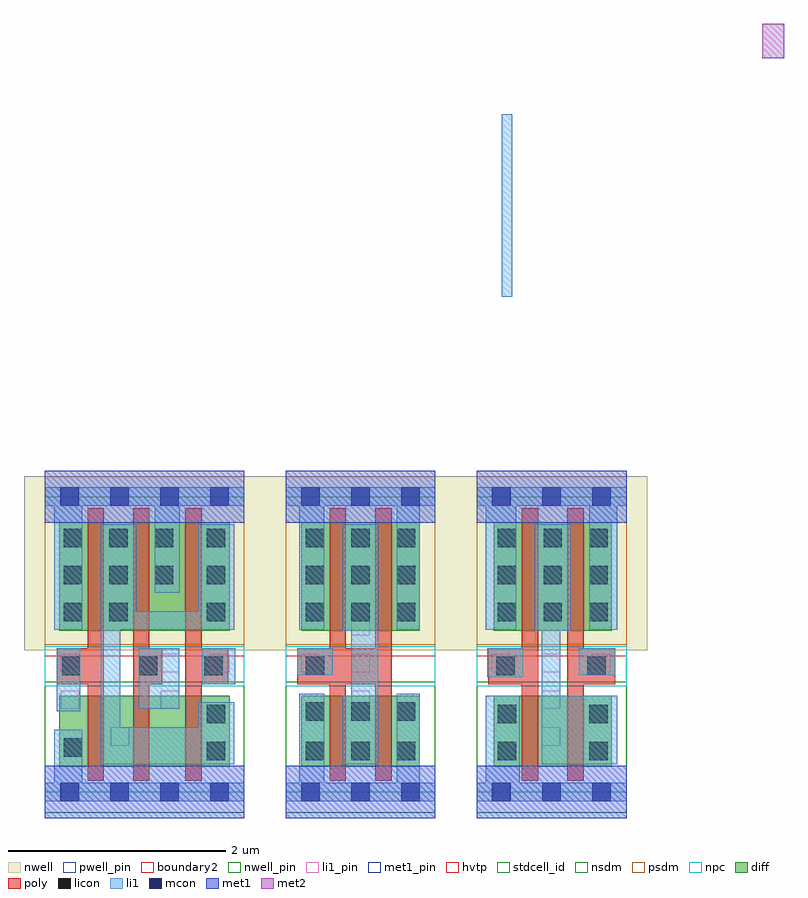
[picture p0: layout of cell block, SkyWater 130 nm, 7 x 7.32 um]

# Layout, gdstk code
import gdstk
lib = gdstk.Library(unit=1e-6, precision=1e-09)
def R(c, l, rs):  # rectangles x0, y0, x1, y1
    for r in rs: c.add(gdstk.rectangle(r[:2], r[2:], *l))
def A(c, l, x, y, w, h, nx, ny, dx, dy):  # array of equal rectangles
    R(c, l, [(x+i*dx, y+j*dy, x+i*dx+w, y+j*dy+h) for i in range(nx) for j in range(ny)])
def P(c, l, *ps):  # polygons
    for p in ps: c.add(gdstk.Polygon(p, *l))
nwell_pin = (64, 16)
nwell = (64, 20)
diff = (65, 20)
poly = (66, 20)
licon = (66, 44)
li1_pin = (67, 16)
li1 = (67, 20)
mcon = (67, 44)
met1_pin = (68, 16)
met1 = (68, 20)
met2 = (69, 20)
hvtp = (78, 44)
stdcell_id = (81, 4)
nsdm = (93, 44)
psdm = (94, 20)
npc = (95, 20)
pwell_pin = (122, 16)
boundary2 = (236, 0)

sky130_fd_sc_hd__nand3_1 = lib.new_cell('sky130_fd_sc_hd__nand3_1')
R(sky130_fd_sc_hd__nand3_1, nwell_pin, [(0.15,2.635,0.32,2.805)])
R(sky130_fd_sc_hd__nand3_1, nwell, [(-0.19,1.305,2.03,2.91)])
R(sky130_fd_sc_hd__nand3_1, diff, [(0.135,0.235,1.705,0.885), (0.135,1.485,1.705,2.485)])
P(sky130_fd_sc_hd__nand3_1, poly, [(1.295,0.105),(1.295,2.615),(1.445,2.615),(1.445,1.325),(1.69,1.325),(1.69,0.995),(1.445,0.995),(1.445,0.105)],
  [(0.815,0.105),(0.815,2.615),(0.965,2.615),(0.965,1.325),(1.085,1.325),(1.085,0.995),(0.965,0.995),(0.965,0.105)],
  [(0.395,0.105),(0.395,0.995),(0.11,0.995),(0.11,1.325),(0.395,1.325),(0.395,2.615),(0.545,2.615),(0.545,0.105)])
A(sky130_fd_sc_hd__nand3_1, licon, 1.495, 1.575, 0.17, 0.17, 1, 3, 0, 0.34)
A(sky130_fd_sc_hd__nand3_1, licon, 0.175, 1.915, 0.17, 0.17, 3, 2, 0.42, 0.34)
R(sky130_fd_sc_hd__nand3_1, licon, [(1.495,0.295,1.665,0.465), (0.175,0.325,0.345,0.495), (1.495,0.635,1.665,0.805), (0.16,1.075,0.33,1.245), (0.865,1.075,1.035,1.245), (1.47,1.075,1.64,1.245), (0.175,1.575,0.345,1.745), (0.595,1.575,0.765,1.745)])
R(sky130_fd_sc_hd__nand3_1, li1_pin, [(0.61,0.425,0.78,0.595), (0.15,0.765,0.32,0.935), (1.07,0.765,1.24,0.935), (0.15,1.105,0.32,1.275), (1.07,1.105,1.24,1.275), (1.53,1.105,1.7,1.275)])
R(sky130_fd_sc_hd__nand3_1, li1, [(0.11,0.745,0.33,1.325), (0.865,0.765,1.24,1.325), (1.445,0.995,1.755,1.325)])
P(sky130_fd_sc_hd__nand3_1, li1, [(0.09,1.495),(0.09,2.635),(0,2.635),(0,2.805),(1.84,2.805),(1.84,2.635),(1.245,2.635),(1.245,1.835),(1.015,1.835),(1.015,2.635),(0.345,2.635),(0.345,1.495)],
  [(0,-0.085),(0,0.085),(0.09,0.085),(0.09,0.575),(0.345,0.575),(0.345,0.085),(1.84,0.085),(1.84,-0.085)],
  [(0.515,0.255),(0.515,2.465),(0.845,2.465),(0.845,1.665),(1.415,1.665),(1.415,2.465),(1.745,2.465),(1.745,1.495),(0.695,1.495),(0.695,0.595),(1.415,0.595),(1.415,0.825),(1.745,0.825),(1.745,0.255)])
A(sky130_fd_sc_hd__nand3_1, mcon, 0.145, -0.085, 0.17, 0.17, 4, 2, 0.46, 2.72)
R(sky130_fd_sc_hd__nand3_1, met1_pin, [(0.15,-0.085,0.32,0.085), (0.15,2.635,0.32,2.805)])
R(sky130_fd_sc_hd__nand3_1, hvtp, [(0,1.25,1.84,2.72)])
R(sky130_fd_sc_hd__nand3_1, stdcell_id, [(0,0,1.84,2.72)])
R(sky130_fd_sc_hd__nand3_1, nsdm, [(0,-0.19,1.84,1.015)])
R(sky130_fd_sc_hd__nand3_1, psdm, [(0,1.355,1.84,2.91)])
R(sky130_fd_sc_hd__nand3_1, npc, [(0,0.975,1.84,1.345)])
R(sky130_fd_sc_hd__nand3_1, pwell_pin, [(0.15,-0.085,0.32,0.085)])
R(sky130_fd_sc_hd__nand3_1, boundary2, [(0,0,1.84,2.72)])
sky130_fd_sc_hd__nand3_1.add(gdstk.FlexPath([(0,2.72),(1.84,2.72)], 0.48, ends="flush", simple_path=True, layer=68, datatype=20))  # met1
sky130_fd_sc_hd__nand3_1.add(gdstk.FlexPath([(0,0),(1.84,0)], 0.48, ends="flush", simple_path=True, layer=68, datatype=20))  # met1
sky130_fd_sc_hd__nand3_1.add(gdstk.Label('Y', (0.695,0.51), layer=67, texttype=5))
sky130_fd_sc_hd__nand3_1.add(gdstk.Label('A', (1.615,1.19), layer=67, texttype=5))
sky130_fd_sc_hd__nand3_1.add(gdstk.Label('C', (0.235,1.19), layer=67, texttype=5))
sky130_fd_sc_hd__nand3_1.add(gdstk.Label('B', (1.155,1.19), layer=67, texttype=5))
sky130_fd_sc_hd__nand3_1.add(gdstk.Label('VPB', (0.235,2.72), layer=64, texttype=5))
sky130_fd_sc_hd__nand3_1.add(gdstk.Label('VNB', (0.235,0), layer=64, texttype=59))
sky130_fd_sc_hd__nand3_1.add(gdstk.Label('VGND', (0.235,0), layer=68, texttype=5))
sky130_fd_sc_hd__nand3_1.add(gdstk.Label('VPWR', (0.235,2.72), layer=68, texttype=5))
sky130_fd_sc_hd__nand3_1.add(gdstk.Label('nand3_1', (0,0), layer=83, texttype=44))

sky130_fd_sc_hd__inv_2 = lib.new_cell('sky130_fd_sc_hd__inv_2')
R(sky130_fd_sc_hd__inv_2, nwell_pin, [(0.145,2.635,0.315,2.805)])
R(sky130_fd_sc_hd__inv_2, nwell, [(-0.19,1.305,1.57,2.91)])
R(sky130_fd_sc_hd__inv_2, diff, [(0.145,0.235,1.235,0.885), (0.145,1.485,1.235,2.485)])
P(sky130_fd_sc_hd__inv_2, poly, [(0.405,0.105),(0.405,0.995),(0.105,0.995),(0.105,1.325),(0.405,1.325),(0.405,2.615),(0.555,2.615),(0.555,1.325),(0.825,1.325),(0.825,2.615),(0.975,2.615),(0.975,0.105),(0.825,0.105),(0.825,0.995),(0.555,0.995),(0.555,0.105)])
A(sky130_fd_sc_hd__inv_2, licon, 0.185, 0.295, 0.17, 0.17, 3, 2, 0.42, 0.36)
A(sky130_fd_sc_hd__inv_2, licon, 0.185, 1.575, 0.17, 0.17, 3, 3, 0.42, 0.34)
R(sky130_fd_sc_hd__inv_2, licon, [(0.185,1.075,0.355,1.245)])
A(sky130_fd_sc_hd__inv_2, li1_pin, 0.605, 0.765, 0.17, 0.17, 1, 3, 0, 0.34)
R(sky130_fd_sc_hd__inv_2, li1_pin, [(0.145,1.105,0.315,1.275)])
R(sky130_fd_sc_hd__inv_2, li1, [(0.105,1.075,0.435,1.325)])
P(sky130_fd_sc_hd__inv_2, li1, [(0.125,1.495),(0.125,2.635),(0,2.635),(0,2.805),(1.38,2.805),(1.38,2.635),(1.235,2.635),(1.235,1.495),(1.025,1.495),(1.025,2.635),(0.355,2.635),(0.355,1.495)],
  [(0.525,0.255),(0.525,0.885),(0.605,0.885),(0.605,1.485),(0.525,1.485),(0.525,2.465),(0.855,2.465),(0.855,0.255)],
  [(0,-0.085),(0,0.085),(0.125,0.085),(0.125,0.905),(0.355,0.905),(0.355,0.085),(1.025,0.085),(1.025,0.905),(1.235,0.905),(1.235,0.085),(1.38,0.085),(1.38,-0.085)])
A(sky130_fd_sc_hd__inv_2, mcon, 0.145, -0.085, 0.17, 0.17, 3, 2, 0.46, 2.72)
R(sky130_fd_sc_hd__inv_2, met1_pin, [(0.145,-0.085,0.315,0.085), (0.145,2.635,0.315,2.805)])
R(sky130_fd_sc_hd__inv_2, hvtp, [(0,1.25,1.38,2.72)])
R(sky130_fd_sc_hd__inv_2, stdcell_id, [(0,0,1.38,2.72)])
R(sky130_fd_sc_hd__inv_2, nsdm, [(0,-0.19,1.38,1.015)])
R(sky130_fd_sc_hd__inv_2, psdm, [(0,1.355,1.38,2.91)])
R(sky130_fd_sc_hd__inv_2, npc, [(0,0.975,1.38,1.345)])
R(sky130_fd_sc_hd__inv_2, pwell_pin, [(0.145,-0.085,0.315,0.085)])
R(sky130_fd_sc_hd__inv_2, boundary2, [(0,0,1.38,2.72)])
sky130_fd_sc_hd__inv_2.add(gdstk.FlexPath([(0,2.72),(1.38,2.72)], 0.48, ends="flush", simple_path=True, layer=68, datatype=20))  # met1
sky130_fd_sc_hd__inv_2.add(gdstk.FlexPath([(0,0),(1.38,0)], 0.48, ends="flush", simple_path=True, layer=68, datatype=20))  # met1
sky130_fd_sc_hd__inv_2.add(gdstk.Label('A', (0.23,1.19), layer=67, texttype=5))
sky130_fd_sc_hd__inv_2.add(gdstk.Label('Y', (0.69,0.85), layer=67, texttype=5))
sky130_fd_sc_hd__inv_2.add(gdstk.Label('Y', (0.69,1.53), layer=67, texttype=5))
sky130_fd_sc_hd__inv_2.add(gdstk.Label('Y', (0.69,1.19), layer=67, texttype=5))
sky130_fd_sc_hd__inv_2.add(gdstk.Label('VPB', (0.23,2.72), layer=64, texttype=5))
sky130_fd_sc_hd__inv_2.add(gdstk.Label('VNB', (0.23,0), layer=64, texttype=59))
sky130_fd_sc_hd__inv_2.add(gdstk.Label('VPWR', (0.23,2.72), layer=68, texttype=5))
sky130_fd_sc_hd__inv_2.add(gdstk.Label('VGND', (0.23,0), layer=68, texttype=5))
sky130_fd_sc_hd__inv_2.add(gdstk.Label('inv_2', (0,0), layer=83, texttype=44))

sky130_fd_sc_hd__nand2_1 = lib.new_cell('sky130_fd_sc_hd__nand2_1')
R(sky130_fd_sc_hd__nand2_1, nwell_pin, [(0.14,2.635,0.31,2.805)])
R(sky130_fd_sc_hd__nand2_1, nwell, [(-0.19,1.305,1.57,2.91)])
R(sky130_fd_sc_hd__nand2_1, diff, [(0.155,0.235,1.245,0.885), (0.155,1.485,1.245,2.485)])
P(sky130_fd_sc_hd__nand2_1, poly, [(0.835,0.105),(0.835,2.615),(0.985,2.615),(0.985,1.325),(1.275,1.325),(1.275,0.995),(0.985,0.995),(0.985,0.105)],
  [(0.415,0.105),(0.415,0.995),(0.105,0.995),(0.105,1.325),(0.415,1.325),(0.415,2.615),(0.565,2.615),(0.565,0.105)])
A(sky130_fd_sc_hd__nand2_1, licon, 0.195, 1.575, 0.17, 0.17, 3, 3, 0.42, 0.34)
R(sky130_fd_sc_hd__nand2_1, licon, [(0.195,0.295,0.365,0.465), (1.035,0.295,1.205,0.465), (0.195,0.635,0.365,0.805), (1.035,0.635,1.205,0.805), (0.18,1.075,0.35,1.245), (1.02,1.075,1.19,1.245)])
A(sky130_fd_sc_hd__nand2_1, li1_pin, 0.14, 1.105, 0.17, 0.17, 3, 1, 0.46, 0)
R(sky130_fd_sc_hd__nand2_1, li1_pin, [(0.6,0.425,0.77,0.595), (0.6,0.765,0.77,0.935)])
R(sky130_fd_sc_hd__nand2_1, li1, [(0.095,1.055,0.43,1.325), (0.94,1.075,1.275,1.325)])
P(sky130_fd_sc_hd__nand2_1, li1, [(0,-0.085),(0,0.085),(0.085,0.085),(0.085,0.885),(0.395,0.885),(0.395,0.085),(1.38,0.085),(1.38,-0.085)],
  [(0.085,1.495),(0.085,2.635),(0,2.635),(0,2.805),(1.38,2.805),(1.38,2.635),(1.295,2.635),(1.295,1.495),(1.035,1.495),(1.035,2.635),(0.365,2.635),(0.365,1.495)],
  [(0.6,0.255),(0.6,1.485),(0.535,1.485),(0.535,2.465),(0.865,2.465),(0.865,1.485),(0.77,1.485),(0.77,0.885),(1.295,0.885),(1.295,0.255)])
A(sky130_fd_sc_hd__nand2_1, mcon, 0.145, -0.085, 0.17, 0.17, 3, 2, 0.46, 2.72)
R(sky130_fd_sc_hd__nand2_1, met1_pin, [(0.14,-0.085,0.31,0.085), (0.14,2.635,0.31,2.805)])
R(sky130_fd_sc_hd__nand2_1, hvtp, [(0,1.25,1.38,2.72)])
R(sky130_fd_sc_hd__nand2_1, stdcell_id, [(0,0,1.38,2.72)])
R(sky130_fd_sc_hd__nand2_1, nsdm, [(0,-0.19,1.38,1.015)])
R(sky130_fd_sc_hd__nand2_1, psdm, [(0,1.355,1.38,2.91)])
R(sky130_fd_sc_hd__nand2_1, npc, [(0,0.975,1.38,1.345)])
R(sky130_fd_sc_hd__nand2_1, pwell_pin, [(0.14,-0.085,0.31,0.085)])
R(sky130_fd_sc_hd__nand2_1, boundary2, [(0,0,1.38,2.72)])
sky130_fd_sc_hd__nand2_1.add(gdstk.FlexPath([(0,2.72),(1.38,2.72)], 0.48, ends="flush", simple_path=True, layer=68, datatype=20))  # met1
sky130_fd_sc_hd__nand2_1.add(gdstk.FlexPath([(0,0),(1.38,0)], 0.48, ends="flush", simple_path=True, layer=68, datatype=20))  # met1
sky130_fd_sc_hd__nand2_1.add(gdstk.Label('Y', (0.685,0.51), layer=67, texttype=5))
sky130_fd_sc_hd__nand2_1.add(gdstk.Label('Y', (0.685,0.85), layer=67, texttype=5))
sky130_fd_sc_hd__nand2_1.add(gdstk.Label('Y', (0.685,1.19), layer=67, texttype=5))
sky130_fd_sc_hd__nand2_1.add(gdstk.Label('B', (0.225,1.19), layer=67, texttype=5))
sky130_fd_sc_hd__nand2_1.add(gdstk.Label('A', (1.145,1.19), layer=67, texttype=5))
sky130_fd_sc_hd__nand2_1.add(gdstk.Label('VPB', (0.225,2.72), layer=64, texttype=5))
sky130_fd_sc_hd__nand2_1.add(gdstk.Label('VNB', (0.225,0), layer=64, texttype=59))
sky130_fd_sc_hd__nand2_1.add(gdstk.Label('VGND', (0.23,0), layer=68, texttype=5))
sky130_fd_sc_hd__nand2_1.add(gdstk.Label('VPWR', (0.225,2.72), layer=68, texttype=5))
sky130_fd_sc_hd__nand2_1.add(gdstk.Label('nand2_1', (0,0), layer=83, texttype=44))

block = lib.new_cell('block')
R(block, li1, [(4.21,4.56,4.305,6.245)])
R(block, met2, [(6.61,6.76,6.81,7.075)])
block.add(gdstk.Reference(sky130_fd_sc_hd__nand3_1, (0,0)))
block.add(gdstk.Reference(sky130_fd_sc_hd__inv_2, (2.22,0)))
block.add(gdstk.Reference(sky130_fd_sc_hd__nand2_1, (3.98,0)))

lib.write_gds('block.gds')
